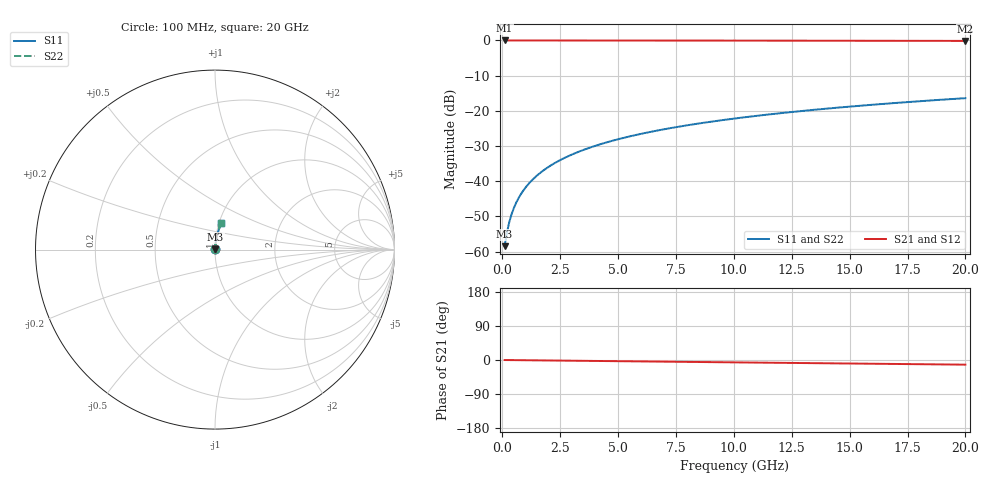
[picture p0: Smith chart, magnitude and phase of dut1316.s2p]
! Touchstone file exported from HFSS 2026.1.0
!  File:  C:/ffzhzh/LocalFiles/Ansys_Project_Files/temp_train_BSMRDL_1316_1783178437_51560.aedt
!  Generated:  11:21:43 PM Jul  4, 2026
!  Design:  BSMRDL
!  Project:  temp_train_BSMRDL_1316_1783178437_51560
! Variables:
!  h_bsmrdl = 5.73um
!  h_ox = 20um
!  h_rdl = 5um
!  h_sub = 80um
!  h_tmrdl = 5um
!  h_tsv = 80um
!  h_via = 3um
!  l_bsmrdl = 128.68um
!  l_sub = 528.68um
!  l_tmrdl = 200um
!  m_sub = 200um
!  pitch = 43.59um
!  r_tsv = 6um
!  s_tmrdl = 10um
!  w_bsmrdl = 10.25um
!  w_sub = 500um
!  w_tmrdl = 12um
!  x_tsv_center1 = 206um
!  x_tsv_center2 = 344.93um
!  x_tsv_center3 = 556.93um
!  x_tsv_center4 = 695.86um
!  x_tsv_center5 = 907.86um
!  x_tsv_center6 = 1046.79um
# GHz S MA R 50.000000
! Terminal data exported
! Port[1] = BSM_RDL1_1_T1
! Port[2] = BSM_RDL1_1_T2
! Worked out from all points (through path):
!   200 points, 100 MHz to 20 GHz, reference 50 ohm
!   highest |S21| = -0.01 dB at 100 MHz (marker M1); lowest = -0.1 dB at 20 GHz (marker M2)
!   group delay of S21, straight-line fit = 1.7 ps
!   lowest |S11| = -58.5 dB at 100 MHz (marker M3), VSWR 1.00, Z = 50.1 + j0.0824 ohm
!   |S11| at or under -10 dB: start of sweep to end of sweep
!   |S22| runs from -58.5 to -16.4 dB; largest |S21 - S12| = 3e-15
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0.1  0.001195 43.5  0.9991 -0.1  0.9991 -0.1  0.001195 43.5
! Gamma 0 0 0 0
! Port Impedance 50 0 50 0
0.2  0.001863 61.7  0.9991 -0.1  0.9991 -0.1  0.001863 61.7
0.3  0.002613 69.7  0.9991 -0.2  0.9991 -0.2  0.002613 69.7
0.4  0.003385 74.0  0.9991 -0.3  0.9991 -0.3  0.003385 74.0
0.5  0.004165 76.7  0.9991 -0.3  0.9991 -0.3  0.004165 76.7
0.6  0.004949 78.5  0.999 -0.4  0.999 -0.4  0.004949 78.5
0.8  0.006521 80.9  0.999 -0.5  0.999 -0.5  0.006521 80.9
1.1  0.008889 82.7  0.9989 -0.7  0.9989 -0.7  0.008889 82.7
1.5  0.01205 84.0  0.9989 -1.0  0.9989 -1.0  0.01205 84.0
1.8  0.01443 84.4  0.9988 -1.1  0.9988 -1.1  0.01443 84.4
2.1  0.0168 84.7  0.9987 -1.3  0.9987 -1.3  0.0168 84.7
2.7  0.02153 84.9  0.9985 -1.7  0.9985 -1.7  0.02153 84.9
3.5  0.0278 84.8  0.9982 -2.2  0.9982 -2.2  0.0278 84.8
4.2  0.03326 84.6  0.9979 -2.7  0.9979 -2.7  0.03326 84.6
5  0.03946 84.3  0.9975 -3.2  0.9975 -3.2  0.03946 84.3
5.9  0.04639 83.9  0.997 -3.7  0.997 -3.7  0.04639 83.9
6.8  0.05327 83.4  0.9965 -4.3  0.9965 -4.3  0.05327 83.4
8.3  0.06468 82.7  0.9955 -5.2  0.9955 -5.2  0.06468 82.7
10.1  0.07826 81.7  0.9942 -6.3  0.9942 -6.3  0.07826 81.7
13.4  0.1029 80.0  0.9916 -8.3  0.9916 -8.3  0.1029 80.0
16.7  0.1273 78.1  0.9884 -10.3  0.9884 -10.3  0.1273 78.1
20  0.1513 76.3  0.9847 -12.3  0.9847 -12.3  0.1513 76.3
